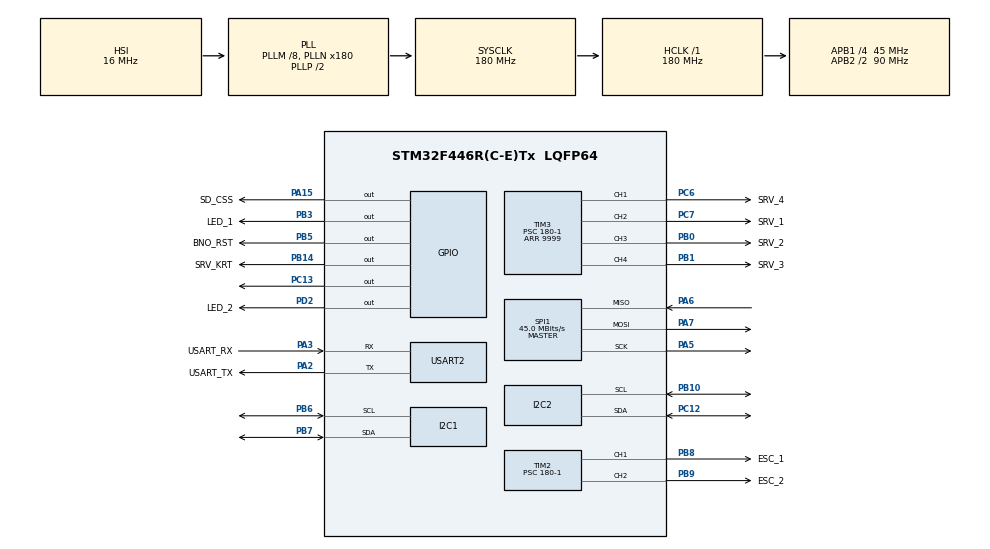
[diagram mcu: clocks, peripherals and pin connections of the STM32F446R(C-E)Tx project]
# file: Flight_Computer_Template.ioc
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FATFS._MAX_SS=4096
Mcu.Family=STM32F4
Mcu.Name=STM32F446R(C-E)Tx
Mcu.Package=LQFP64
NVIC.PriorityGroup=NVIC_PRIORITYGROUP_4
NVIC.TIM1_UP_TIM10_IRQn=true\:15\:0\:false\:false\:true\:false\:true\:true
NVIC.TimeBase=TIM1_UP_TIM10_IRQn
NVIC.TimeBaseIP=TIM1
NVIC.USART2_IRQn=true\:0\:0\:false\:false\:true\:true\:true\:true
PA13.GPIO_Label=TMS
PA13.Mode=Serial_Wire
PA13.Signal=SYS_JTMS-SWDIO
PA14.GPIO_Label=TCK
PA14.Mode=Serial_Wire
PA14.Signal=SYS_JTCK-SWCLK
PA15.GPIO_Label=SD_CSS
PA15.Signal=GPIO_Output
PA2.GPIO_Label=USART_TX
PA2.Mode=Asynchronous
PA2.Signal=USART2_TX
PA3.GPIO_Label=USART_RX
PA3.Mode=Asynchronous
PA3.Signal=USART2_RX
PA5.Mode=Full_Duplex_Master
PA5.Signal=SPI1_SCK
PA6.Mode=Full_Duplex_Master
PA6.Signal=SPI1_MISO
PA7.Mode=Full_Duplex_Master
PA7.Signal=SPI1_MOSI
PB0.GPIO_Label=SRV_2
PB0.Signal=S_TIM3_CH3
PB1.GPIO_Label=SRV_3
PB1.Signal=S_TIM3_CH4
PB10.Mode=I2C
PB10.Signal=I2C2_SCL
PB14.GPIO_Label=SRV_KRT
PB14.Signal=GPIO_Output
PB3.GPIO_Label=LED_1
PB3.Signal=GPIO_Output
PB5.GPIO_Label=BNO_RST
PB5.Signal=GPIO_Output
PB6.Mode=I2C
PB6.Signal=I2C1_SCL
PB7.Mode=I2C
PB7.Signal=I2C1_SDA
PB8.GPIO_Label=ESC_1
PB8.Signal=S_TIM2_CH1_ETR
PB9.GPIO_Label=ESC_2
PB9.Signal=S_TIM2_CH2
PC12.Mode=I2C
PC12.Signal=I2C2_SDA
PC13.Signal=GPIO_Output
PC14-OSC32_IN.GPIO_Label=LED_3
PC14-OSC32_IN.Mode=LSE-External-Oscillator
PC14-OSC32_IN.Signal=RCC_OSC32_IN
PC15-OSC32_OUT.Mode=LSE-External-Oscillator
PC15-OSC32_OUT.Signal=RCC_OSC32_OUT
PC6.GPIO_Label=SRV_4
PC6.Signal=S_TIM3_CH1
PC7.GPIO_Label=SRV_1
PC7.Signal=S_TIM3_CH2
PD2.GPIO_Label=LED_2
PD2.Signal=GPIO_Output
PH0-OSC_IN.Mode=HSE-External-Oscillator
PH0-OSC_IN.Signal=RCC_OSC_IN
PH1-OSC_OUT.Mode=HSE-External-Oscillator
PH1-OSC_OUT.Signal=RCC_OSC_OUT
ProjectManager.HeapSize=0x200
ProjectManager.StackSize=0x400
ProjectManager.TargetToolchain=STM32CubeIDE
RCC.48MHZClocksFreq_Value=84000000
RCC.AHBFreq_Value=180000000
RCC.APB1CLKDivider=RCC_HCLK_DIV4
RCC.APB1Freq_Value=45000000
RCC.APB1TimFreq_Value=90000000
RCC.APB2CLKDivider=RCC_HCLK_DIV2
RCC.APB2Freq_Value=90000000
RCC.APB2TimFreq_Value=180000000
RCC.CortexFreq_Value=180000000
RCC.FLatency-AdvancedSettings=FLASH_LATENCY_5
RCC.HCLKFreq_Value=180000000
RCC.HSE_VALUE=8000000
RCC.HSI_VALUE=16000000
RCC.PLLM=8
RCC.PLLN=180
RCC.SYSCLKFreq_VALUE=180000000
RCC.SYSCLKSource=RCC_SYSCLKSOURCE_PLLCLK
RCC.USBFreq_Value=180000000
RCC.VCOOutputFreq_Value=360000000
SH.S_TIM2_CH1_ETR.0=TIM2_CH1,PWM Generation1 CH1
SH.S_TIM2_CH2.0=TIM2_CH2,PWM Generation2 CH2
SH.S_TIM3_CH1.0=TIM3_CH1,PWM Generation1 CH1
SH.S_TIM3_CH2.0=TIM3_CH2,PWM Generation2 CH2
SH.S_TIM3_CH3.0=TIM3_CH3,PWM Generation3 CH3
SH.S_TIM3_CH4.0=TIM3_CH4,PWM Generation4 CH4
SPI1.CalculateBaudRate=45.0 MBits/s
SPI1.Direction=SPI_DIRECTION_2LINES
SPI1.Mode=SPI_MODE_MASTER
SPI1.VirtualType=VM_MASTER
TIM2.Channel-PWM\ Generation1\ CH1=TIM_CHANNEL_1
TIM2.Channel-PWM\ Generation2\ CH2=TIM_CHANNEL_2
TIM2.Period=9999
TIM2.Prescaler=180-1
TIM3.Channel-PWM\ Generation1\ CH1=TIM_CHANNEL_1
TIM3.Channel-PWM\ Generation2\ CH2=TIM_CHANNEL_2
TIM3.Channel-PWM\ Generation3\ CH3=TIM_CHANNEL_3
TIM3.Channel-PWM\ Generation4\ CH4=TIM_CHANNEL_4
TIM3.Period=9999
TIM3.Prescaler=180-1
USART2.VirtualMode=VM_ASYNC
VP_FATFS_VS_Generic.Mode=User_defined
VP_SYS_VS_tim1.Mode=TIM1
VP_TIM2_VS_ClockSourceINT.Mode=Internal
VP_TIM3_VS_ClockSourceINT.Mode=Internal
board=NUCLEO-F446RE

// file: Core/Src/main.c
/* USER CODE BEGIN Header */
/**
  ******************************************************************************
  * @file           : main.c
  * @brief          : Main program body
  ******************************************************************************
  * @attention
  *
  * Copyright (c) 2024 STMicroelectronics.
  * All rights reserved.
  *
  * This software is licensed under terms that can be found in the LICENSE file
  * in the root directory of this software component.
  * If no LICENSE file comes with this software, it is provided AS-IS.
  *
  ******************************************************************************
  */
/* USER CODE END Header */
#include <ms5611.h>
#include "main.h"
#include "fatfs.h"

/* USER CODE BEGIN Includes */
#include "bno055_stm32.h"
#include "bno055.h"
#include <stdio.h>
/* USER CODE END Includes */

/* USER CODE BEGIN PTD */
//This struct holds the necessary values to be used in the Kalman filter
typedef struct {
    double q; // process noise covariance
    double r; // measurement noise covariance
    double x; // estimated value
    double p; // estimation error covariance
    double k; // adaptive Kalman gain
} KalmanState;
/* USER CODE END PTD */

/* USER CODE BEGIN PD */
//Numbers are not checked in accuracy, they are just rough estimations
#define ACCEL_THRESHOLD 3.14 // in g
#define VELOCITY_THRESHOLD -40 // in m/s
#define ALT_THRESHOLD 800 // in m
/* USER CODE END PD */

I2C_HandleTypeDef hi2c1;
I2C_HandleTypeDef hi2c2;

SPI_HandleTypeDef hspi1;

TIM_HandleTypeDef htim2;
TIM_HandleTypeDef htim3;

UART_HandleTypeDef huart2;

void SystemClock_Config(void);
static void MX_GPIO_Init(void);
static void MX_USART2_UART_Init(void);
static void MX_I2C2_Init(void);
static void MX_TIM2_Init(void);
static void MX_I2C1_Init(void);
static void MX_TIM3_Init(void);
static void MX_SPI1_Init(void);
/* USER CODE BEGIN PFP */
double getCurrentTime();
void deployDrag();
void deployMain();
void kalman_init();
double kalman_update();
/* USER CODE END PFP */

int main(void)
{

  /* MCU Configuration--------------------------------------------------------*/

  /* Reset of all peripherals, Initializes the Flash interface and the Systick. */
  HAL_Init();

  /* Configure the system clock */
  SystemClock_Config();

  /* Initialize all configured peripherals */
  MX_GPIO_Init();
  MX_USART2_UART_Init();
  MX_I2C2_Init();
  MX_TIM2_Init();
  MX_I2C1_Init();
  MX_TIM3_Init();
  MX_SPI1_Init();
  MX_FATFS_Init();
  /* USER CODE BEGIN 2 */
  bno055_assignI2C(&hi2c1);
  bno055_setup();
  bno055_setOperationModeNDOF();
  ms5611_init();
  ms5611_setOSR(OSR_512);
  KalmanState state;
  kalman_init(&state, 0.2, 0.15, 0.8, 0); //Parameters are not chosen according to known values but at random
  /* USER CODE END 2 */

  /* Infinite loop */
  /* USER CODE BEGIN WHILE */
  double current_time,last_time;
  double velocity=0;
  bool drag_deployed= false, main_deployed= false;
  while (1)
  {
	  //get data from IMU
       bno055_vector_t accel = bno055_getVectorAccelerometer();
       //bno055_vector_t mag = bno055_getVectorMagnetometer(); //commented since not used
       //bno055_vector_t gyro = bno055_getVectorGyroscope(); //commented since not used

       //get data from barometer
        float temp,press,alt;
	    ms5611_getTemperatureAndPressure( &temp, &press, &alt);

	    //get time
	    current_time = getCurrentTime(); //a function that returns the current time

	    // filter(or try to) the acceleration data with the Kalman filter
	            accel.z = kalman_update(&state, accel.z);

	    // calculate the velocity using trapezoidal rule
	     if (last_time != 0) {  // skips the first iteration
	         double delta_time = current_time - last_time;
	         velocity += accel.z * delta_time; //just calculates the vertical velocity
	     }
	     last_time = current_time;

	     // check if the rocket has reached apogee with velocity
	        if (!drag_deployed && velocity <= 0) {
	            deployDrag();//if conditions met activate drag parachute
	            drag_deployed = true;
	        }
	     // check the rockets velocity and altitude after the drag opens
	     // open main parachute if velocity is small enough or if the rockets too close to ground
	        if (drag_deployed && (!main_deployed && (velocity < VELOCITY_THRESHOLD))||(alt< ALT_THRESHOLD)) {
	             deployMain();
	             main_deployed = true;
	        }

    /* USER CODE END WHILE */

  }
}

void SystemClock_Config(void)
{
  RCC_OscInitTypeDef RCC_OscInitStruct = {0};
  RCC_ClkInitTypeDef RCC_ClkInitStruct = {0};

  /** Configure the main internal regulator output voltage
  */
  __HAL_RCC_PWR_CLK_ENABLE();
  __HAL_PWR_VOLTAGESCALING_CONFIG(PWR_REGULATOR_VOLTAGE_SCALE1);

  /** Initializes the RCC Oscillators according to the specified parameters
  * in the RCC_OscInitTypeDef structure.
  */
  RCC_OscInitStruct.OscillatorType = RCC_OSCILLATORTYPE_HSI;
  RCC_OscInitStruct.HSIState = RCC_HSI_ON;
  RCC_OscInitStruct.HSICalibrationValue = RCC_HSICALIBRATION_DEFAULT;
  RCC_OscInitStruct.PLL.PLLState = RCC_PLL_ON;
  RCC_OscInitStruct.PLL.PLLSource = RCC_PLLSOURCE_HSI;
  RCC_OscInitStruct.PLL.PLLM = 8;
  RCC_OscInitStruct.PLL.PLLN = 180;
  RCC_OscInitStruct.PLL.PLLP = RCC_PLLP_DIV2;
  RCC_OscInitStruct.PLL.PLLQ = 2;
  RCC_OscInitStruct.PLL.PLLR = 2;
  if (HAL_RCC_OscConfig(&RCC_OscInitStruct) != HAL_OK)
  {
    Error_Handler();
  }

  /** Activate the Over-Drive mode
  */
  if (HAL_PWREx_EnableOverDrive() != HAL_OK)
  {
    Error_Handler();
  }

  /** Initializes the CPU, AHB and APB buses clocks
  */
  RCC_ClkInitStruct.ClockType = RCC_CLOCKTYPE_HCLK|RCC_CLOCKTYPE_SYSCLK
                              |RCC_CLOCKTYPE_PCLK1|RCC_CLOCKTYPE_PCLK2;
  RCC_ClkInitStruct.SYSCLKSource = RCC_SYSCLKSOURCE_PLLCLK;
  RCC_ClkInitStruct.AHBCLKDivider = RCC_SYSCLK_DIV1;
  RCC_ClkInitStruct.APB1CLKDivider = RCC_HCLK_DIV4;
  RCC_ClkInitStruct.APB2CLKDivider = RCC_HCLK_DIV2;

  if (HAL_RCC_ClockConfig(&RCC_ClkInitStruct, FLASH_LATENCY_5) != HAL_OK)
  {
    Error_Handler();
  }
}

static void MX_I2C1_Init(void)
{

  hi2c1.Instance = I2C1;
  hi2c1.Init.ClockSpeed = 100000;
  hi2c1.Init.DutyCycle = I2C_DUTYCYCLE_2;
  hi2c1.Init.OwnAddress1 = 0;
  hi2c1.Init.AddressingMode = I2C_ADDRESSINGMODE_7BIT;
  hi2c1.Init.DualAddressMode = I2C_DUALADDRESS_DISABLE;
  hi2c1.Init.OwnAddress2 = 0;
  hi2c1.Init.GeneralCallMode = I2C_GENERALCALL_DISABLE;
  hi2c1.Init.NoStretchMode = I2C_NOSTRETCH_DISABLE;
  if (HAL_I2C_Init(&hi2c1) != HAL_OK)
  {
    Error_Handler();
  }

}

static void MX_I2C2_Init(void)
{

  hi2c2.Instance = I2C2;
  hi2c2.Init.ClockSpeed = 100000;
  hi2c2.Init.DutyCycle = I2C_DUTYCYCLE_2;
  hi2c2.Init.OwnAddress1 = 0;
  hi2c2.Init.AddressingMode = I2C_ADDRESSINGMODE_7BIT;
  hi2c2.Init.DualAddressMode = I2C_DUALADDRESS_DISABLE;
  hi2c2.Init.OwnAddress2 = 0;
  hi2c2.Init.GeneralCallMode = I2C_GENERALCALL_DISABLE;
  hi2c2.Init.NoStretchMode = I2C_NOSTRETCH_DISABLE;
  if (HAL_I2C_Init(&hi2c2) != HAL_OK)
  {
    Error_Handler();
  }

}

static void MX_SPI1_Init(void)
{

  /* SPI1 parameter configuration*/
  hspi1.Instance = SPI1;
  hspi1.Init.Mode = SPI_MODE_MASTER;
  hspi1.Init.Direction = SPI_DIRECTION_2LINES;
  hspi1.Init.DataSize = SPI_DATASIZE_8BIT;
  hspi1.Init.CLKPolarity = SPI_POLARITY_LOW;
  hspi1.Init.CLKPhase = SPI_PHASE_1EDGE;
  hspi1.Init.NSS = SPI_NSS_SOFT;
  hspi1.Init.BaudRatePrescaler = SPI_BAUDRATEPRESCALER_2;
  hspi1.Init.FirstBit = SPI_FIRSTBIT_MSB;
  hspi1.Init.TIMode = SPI_TIMODE_DISABLE;
  hspi1.Init.CRCCalculation = SPI_CRCCALCULATION_DISABLE;
  hspi1.Init.CRCPolynomial = 10;
  if (HAL_SPI_Init(&hspi1) != HAL_OK)
  {
    Error_Handler();
  }

}

static void MX_TIM2_Init(void)
{

  TIM_ClockConfigTypeDef sClockSourceConfig = {0};
  TIM_MasterConfigTypeDef sMasterConfig = {0};
  TIM_OC_InitTypeDef sConfigOC = {0};

  htim2.Instance = TIM2;
  htim2.Init.Prescaler = 180-1;
  htim2.Init.CounterMode = TIM_COUNTERMODE_UP;
  htim2.Init.Period = 9999;
  htim2.Init.ClockDivision = TIM_CLOCKDIVISION_DIV1;
  htim2.Init.AutoReloadPreload = TIM_AUTORELOAD_PRELOAD_DISABLE;
  if (HAL_TIM_Base_Init(&htim2) != HAL_OK)
  {
    Error_Handler();
  }
  sClockSourceConfig.ClockSource = TIM_CLOCKSOURCE_INTERNAL;
  if (HAL_TIM_ConfigClockSource(&htim2, &sClockSourceConfig) != HAL_OK)
  {
    Error_Handler();
  }
  if (HAL_TIM_PWM_Init(&htim2) != HAL_OK)
  {
    Error_Handler();
  }
  sMasterConfig.MasterOutputTrigger = TIM_TRGO_RESET;
  sMasterConfig.MasterSlaveMode = TIM_MASTERSLAVEMODE_DISABLE;
  if (HAL_TIMEx_MasterConfigSynchronization(&htim2, &sMasterConfig) != HAL_OK)
  {
    Error_Handler();
  }
  sConfigOC.OCMode = TIM_OCMODE_PWM1;
  sConfigOC.Pulse = 0;
  sConfigOC.OCPolarity = TIM_OCPOLARITY_HIGH;
  sConfigOC.OCFastMode = TIM_OCFAST_DISABLE;
  if (HAL_TIM_PWM_ConfigChannel(&htim2, &sConfigOC, TIM_CHANNEL_1) != HAL_OK)
  {
    Error_Handler();
  }
  if (HAL_TIM_PWM_ConfigChannel(&htim2, &sConfigOC, TIM_CHANNEL_2) != HAL_OK)
  {
    Error_Handler();
  }
  HAL_TIM_MspPostInit(&htim2);

}

static void MX_TIM3_Init(void)
{

  TIM_ClockConfigTypeDef sClockSourceConfig = {0};
  TIM_MasterConfigTypeDef sMasterConfig = {0};
  TIM_OC_InitTypeDef sConfigOC = {0};

  htim3.Instance = TIM3;
  htim3.Init.Prescaler = 180-1;
  htim3.Init.CounterMode = TIM_COUNTERMODE_UP;
  htim3.Init.Period = 9999;
  htim3.Init.ClockDivision = TIM_CLOCKDIVISION_DIV1;
  htim3.Init.AutoReloadPreload = TIM_AUTORELOAD_PRELOAD_DISABLE;
  if (HAL_TIM_Base_Init(&htim3) != HAL_OK)
  {
    Error_Handler();
  }
  sClockSourceConfig.ClockSource = TIM_CLOCKSOURCE_INTERNAL;
  if (HAL_TIM_ConfigClockSource(&htim3, &sClockSourceConfig) != HAL_OK)
  {
    Error_Handler();
  }
  if (HAL_TIM_PWM_Init(&htim3) != HAL_OK)
  {
    Error_Handler();
  }
  sMasterConfig.MasterOutputTrigger = TIM_TRGO_RESET;
  sMasterConfig.MasterSlaveMode = TIM_MASTERSLAVEMODE_DISABLE;
  if (HAL_TIMEx_MasterConfigSynchronization(&htim3, &sMasterConfig) != HAL_OK)
  {
    Error_Handler();
  }
  sConfigOC.OCMode = TIM_OCMODE_PWM1;
  sConfigOC.Pulse = 0;
  sConfigOC.OCPolarity = TIM_OCPOLARITY_HIGH;
  sConfigOC.OCFastMode = TIM_OCFAST_DISABLE;
  if (HAL_TIM_PWM_ConfigChannel(&htim3, &sConfigOC, TIM_CHANNEL_1) != HAL_OK)
  {
    Error_Handler();
  }
  if (HAL_TIM_PWM_ConfigChannel(&htim3, &sConfigOC, TIM_CHANNEL_2) != HAL_OK)
  {
    Error_Handler();
  }
  if (HAL_TIM_PWM_ConfigChannel(&htim3, &sConfigOC, TIM_CHANNEL_3) != HAL_OK)
  {
    Error_Handler();
  }
  if (HAL_TIM_PWM_ConfigChannel(&htim3, &sConfigOC, TIM_CHANNEL_4) != HAL_OK)
  {
    Error_Handler();
  }
  HAL_TIM_MspPostInit(&htim3);

}

static void MX_USART2_UART_Init(void)
{

  huart2.Instance = USART2;
  huart2.Init.BaudRate = 115200;
  huart2.Init.WordLength = UART_WORDLENGTH_8B;
  huart2.Init.StopBits = UART_STOPBITS_1;
  huart2.Init.Parity = UART_PARITY_NONE;
  huart2.Init.Mode = UART_MODE_TX_RX;
  huart2.Init.HwFlowCtl = UART_HWCONTROL_NONE;
  huart2.Init.OverSampling = UART_OVERSAMPLING_16;
  if (HAL_UART_Init(&huart2) != HAL_OK)
  {
    Error_Handler();
  }

}

static void MX_GPIO_Init(void)
{
  GPIO_InitTypeDef GPIO_InitStruct = {0};

  /* GPIO Ports Clock Enable */
  __HAL_RCC_GPIOC_CLK_ENABLE();
  __HAL_RCC_GPIOH_CLK_ENABLE();
  __HAL_RCC_GPIOA_CLK_ENABLE();
  __HAL_RCC_GPIOB_CLK_ENABLE();
  __HAL_RCC_GPIOD_CLK_ENABLE();

  /*Configure GPIO pin Output Level */
  HAL_GPIO_WritePin(GPIOC, GPIO_PIN_13, GPIO_PIN_RESET);

  /*Configure GPIO pin Output Level */
  HAL_GPIO_WritePin(GPIOB, SRV_KRT_Pin|LED_1_Pin|BNO_RST_Pin, GPIO_PIN_RESET);

  /*Configure GPIO pin Output Level */
  HAL_GPIO_WritePin(SD_CSS_GPIO_Port, SD_CSS_Pin, GPIO_PIN_RESET);

  /*Configure GPIO pin Output Level */
  HAL_GPIO_WritePin(LED_2_GPIO_Port, LED_2_Pin, GPIO_PIN_RESET);

  /*Configure GPIO pin : PC13 */
  GPIO_InitStruct.Pin = GPIO_PIN_13;
  GPIO_InitStruct.Mode = GPIO_MODE_OUTPUT_PP;
  GPIO_InitStruct.Pull = GPIO_NOPULL;
  GPIO_InitStruct.Speed = GPIO_SPEED_FREQ_LOW;
  HAL_GPIO_Init(GPIOC, &GPIO_InitStruct);

  /*Configure GPIO pins : SRV_KRT_Pin LED_1_Pin BNO_RST_Pin */
  GPIO_InitStruct.Pin = SRV_KRT_Pin|LED_1_Pin|BNO_RST_Pin;
  GPIO_InitStruct.Mode = GPIO_MODE_OUTPUT_PP;
  GPIO_InitStruct.Pull = GPIO_NOPULL;
  GPIO_InitStruct.Speed = GPIO_SPEED_FREQ_LOW;
  HAL_GPIO_Init(GPIOB, &GPIO_InitStruct);

  /*Configure GPIO pin : SD_CSS_Pin */
  GPIO_InitStruct.Pin = SD_CSS_Pin;
  GPIO_InitStruct.Mode = GPIO_MODE_OUTPUT_PP;
  GPIO_InitStruct.Pull = GPIO_NOPULL;
  GPIO_InitStruct.Speed = GPIO_SPEED_FREQ_LOW;
  HAL_GPIO_Init(SD_CSS_GPIO_Port, &GPIO_InitStruct);

  /*Configure GPIO pin : LED_2_Pin */
  GPIO_InitStruct.Pin = LED_2_Pin;
  GPIO_InitStruct.Mode = GPIO_MODE_OUTPUT_PP;
  GPIO_InitStruct.Pull = GPIO_NOPULL;
  GPIO_InitStruct.Speed = GPIO_SPEED_FREQ_LOW;
  HAL_GPIO_Init(LED_2_GPIO_Port, &GPIO_InitStruct);

}

/* USER CODE BEGIN 4 */
double getCurrentTime() {
    // A fuction that returns time in seconds
}
void deployDrag() {
    // A function that initiates the activation of the drag parachute
}
void deployMain() {
    // A function that initiates the activation of the main parachute
}
// A fuction to initialize Kalman filtration
void kalman_init(KalmanState* state, double q, double r, double p, double initial_value) {
    state->q = q;
    state->r = r;
    state->p = p;
    state->x = initial_value;
}
// A function that updates the data for the Kalman filter
double kalman_update(KalmanState* state, double measurement) {
    state->p += state->q;// updates prediction

    state->k = state->p / (state->p + state->r);
    state->x += state->k * (measurement - state->x);
    state->p *= (1 - state->k);

    return state->x;
}
/* USER CODE END 4 */

void HAL_TIM_PeriodElapsedCallback(TIM_HandleTypeDef *htim)
{
  if (htim->Instance == TIM1) {
    HAL_IncTick();
  }
}

void Error_Handler(void)
{
  __disable_irq();
  while (1)
  {
  }
}
